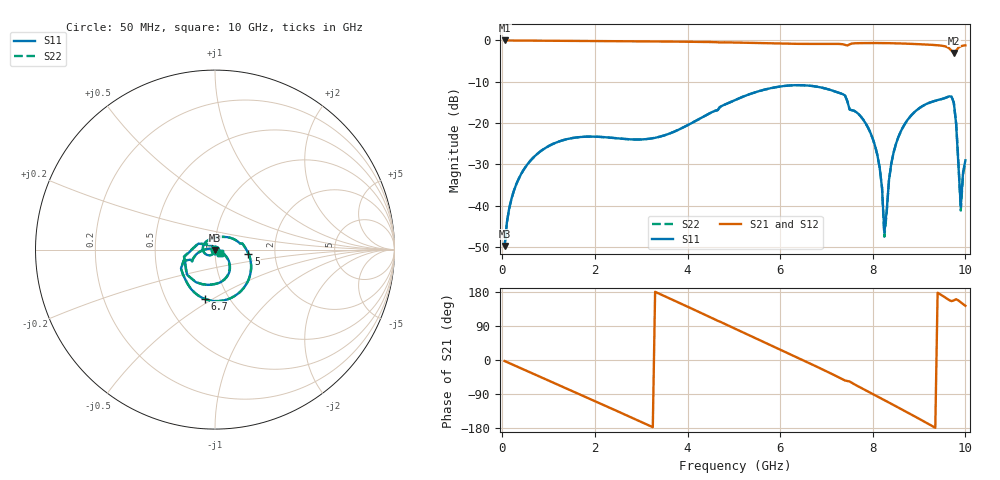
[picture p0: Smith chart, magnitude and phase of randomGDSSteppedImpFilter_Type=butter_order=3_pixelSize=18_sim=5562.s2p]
! freq	dB(S11)	phase(S11)	dB(S12)	phase(S12)
!  dB(S21)	phase(S21)	dB(S22)	phase(S22)
!S-par simulation data
#  GHz  S  DB  R 50
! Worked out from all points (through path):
!   200 points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, 50 MHz to 10 GHz, reference 50 ohm
!   highest |S21| = 0.00 dB at 50 MHz (marker M1); lowest = -3.0 dB at 9.75 GHz (marker M2)
!   group delay of S21, straight-line fit = 159 ps
!   lowest |S11| = -49.8 dB at 50 MHz (marker M3), VSWR 1.01, Z = 50 - j0.324 ohm
!   |S11| at or under -10 dB: start of sweep to end of sweep
!   |S22| runs from -49.8 to -10.8 dB; largest |S21 - S12| = 0
!   S11 on the Smith chart (normalised r, x): 50 MHz: 1.00, -0.01; 5 GHz: 1.46, -0.07; 6.7 GHz: 0.77, -0.46; 10 GHz: 1.06, -0.04
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0.05  -49.79 -89.5  -0.00 -2.7  -0.00 -2.7  -49.81 -89.7
0.2  -38.27 -98.9  -0.02 -10.9  -0.02 -10.9  -38.26 -99.0
0.5  -30.66 -117.2  -0.05 -27.2  -0.05 -27.2  -30.66 -117.3
1.75  -23.33 173.4  -0.13 -95.0  -0.13 -95.0  -23.33 173.0
2.65  -23.86 123.3  -0.19 -144.1  -0.19 -144.1  -23.86 122.9
3.4  -23.31 81.2  -0.25 174.4  -0.25 174.4  -23.31 81.2
4.3  -18.71 31.5  -0.35 123.8  -0.35 123.8  -18.71 31.9
5  -14.54 -6.9  -0.50 84.1  -0.50 84.1  -14.54 -6.5
5.05  -14.29 -9.7  -0.51 81.2  -0.51 81.2  -14.29 -9.3
5.95  -11.24 -59.8  -0.75 30.1  -0.75 30.1  -11.24 -59.5
6.7  -11.04 -101.8  -0.84 -12.4  -0.84 -12.4  -11.04 -101.5
7.9  -21.17 -171.9  -0.63 -83.4  -0.63 -83.4  -21.16 -171.0
8.15  -30.89 169.5  -0.63 -99.4  -0.63 -99.4  -30.88 172.6
8.25  -46.54 133.3  -0.64 -105.8  -0.64 -105.8  -47.53 157.1
8.35  -33.79 -12.0  -0.66 -112.3  -0.66 -112.3  -33.91 -16.9
8.5  -25.07 -25.6  -0.70 -122.1  -0.70 -122.1  -25.11 -27.6
8.8  -18.53 -45.8  -0.81 -141.8  -0.81 -141.8  -18.55 -46.8
9.35  -14.60 -82.5  -1.12 -179.0  -1.12 -179.0  -14.62 -83.3
9.75  -15.08 -166.8  -3.05 157.4  -3.05 157.4  -15.03 -167.4
9.8  -20.18 160.0  -2.48 160.3  -2.48 160.3  -20.04 159.5
9.9  -40.29 7.1  -1.40 152.2  -1.40 152.2  -41.19 14.8
10  -29.03 -33.7  -1.19 143.1  -1.19 143.1  -29.37 -33.5
